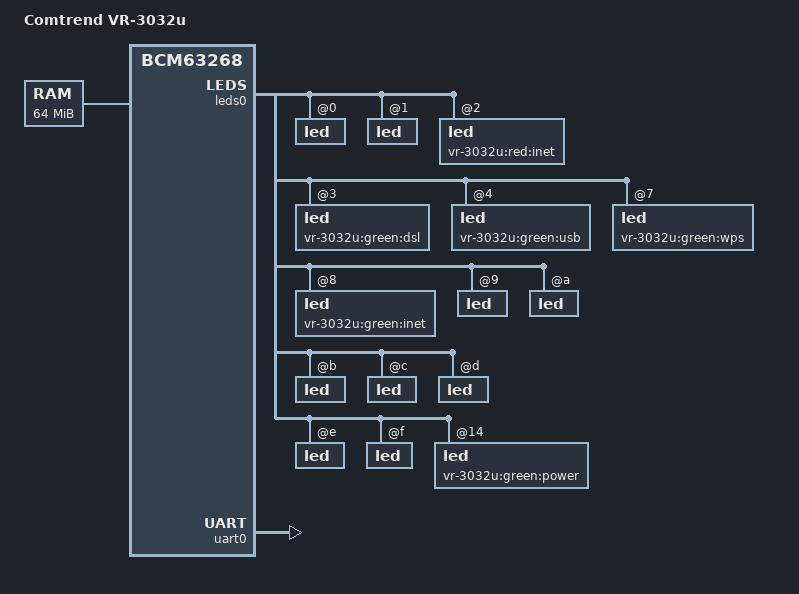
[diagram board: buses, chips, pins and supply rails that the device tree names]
/dts-v1/;

/include/ "bcm63268.dtsi"

/ {
	compatible = "comtrend,vr-3032u", "brcm,bcm63268";
	model = "Comtrend VR-3032u";

	memory@0 {
		device_type = "memory";
		reg = <0x00000000 0x04000000>;
	};

	chosen {
		bootargs = "console=ttyS0,115200";
		stdout-path = &uart0;
	};
};

&leds0 {
	status = "ok";
	brcm,serial-leds;
	brcm,serial-dat-low;
	brcm,serial-shift-inv;

	led@0 {
		reg = <0>;
		brcm,hardware-controlled;
		brcm,link-signal-sources = <0>;
		/* GPHY0 Speed 0 */
	};
	led@1 {
		reg = <1>;
		brcm,hardware-controlled;
		brcm,link-signal-sources = <1>;
		/* GPHY0 Speed 1 */
	};
	led@2 {
		reg = <2>;
		active-low;
		label = "vr-3032u:red:inet";
	};
	led@3 {
		reg = <3>;
		active-low;
		label = "vr-3032u:green:dsl";
	};
	led@4 {
		reg = <4>;
		active-low;
		label = "vr-3032u:green:usb";
	};
	led@7 {
		reg = <7>;
		active-low;
		label = "vr-3032u:green:wps";
	};
	led@8 {
		reg = <8>;
		active-low;
		label = "vr-3032u:green:inet";
	};
	led@9 {
		reg = <9>;
		brcm,hardware-controlled;
		/* EPHY0 Activity */
	};
	led@10 {
		reg = <10>;
		brcm,hardware-controlled;
		/* EPHY1 Activity */
	};
	led@11 {
		reg = <11>;
		brcm,hardware-controlled;
		/* EPHY2 Activity */
	};
	led@12 {
		reg = <12>;
		brcm,hardware-controlled;
		/* GPHY0 Activity */
	};
	led@13 {
		reg = <13>;
		brcm,hardware-controlled;
		/* EPHY0 Speed */
	};
	led@14 {
		reg = <14>;
		brcm,hardware-controlled;
		/* EPHY1 Speed */
	};
	led@15 {
		reg = <15>;
		brcm,hardware-controlled;
		/* EPHY2 Speed */
	};
	led@20 {
		reg = <20>;
		active-low;
		label = "vr-3032u:green:power";
		default-state = "on";
	};
};

&uart0 {
	status = "okay";
};
